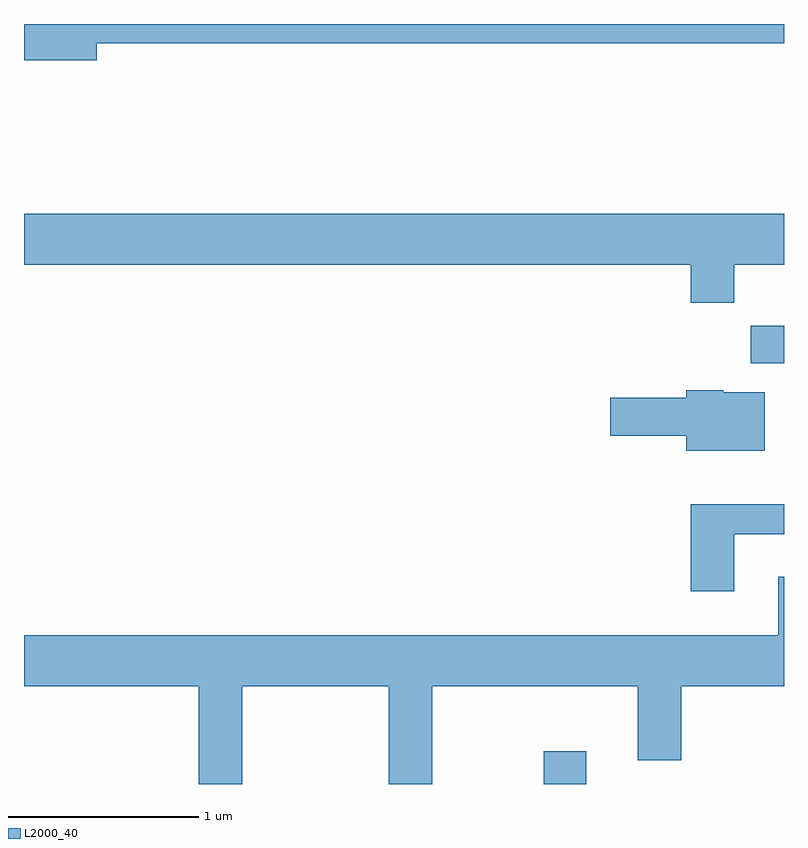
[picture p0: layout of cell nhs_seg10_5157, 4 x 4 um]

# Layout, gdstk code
import gdstk
lib = gdstk.Library(unit=1e-6, precision=1e-09)
def R(c, l, rs):  # rectangles x0, y0, x1, y1
    for r in rs: c.add(gdstk.rectangle(r[:2], r[2:], *l))
def P(c, l, *ps):  # polygons
    for p in ps: c.add(gdstk.Polygon(p, *l))
L2000_40 = (2000, 40)

nhs_seg10_5157 = lib.new_cell('nhs_seg10_5157')
R(nhs_seg10_5157, L2000_40, [(340.346,2104.522,340.569,2104.694), (341.436,2106.736,341.611,2106.934)])
P(nhs_seg10_5157, L2000_40, [(337.994,2108.421),(341.611,2108.421),(341.611,2108.522),(337.611,2108.522),(337.611,2108.331),(337.994,2108.331)],
  [(341.349,2107.256),(341.611,2107.256),(341.611,2107.524),(337.611,2107.524),(337.611,2107.256),(341.121,2107.256),(341.121,2107.056),(341.349,2107.056)],
  [(341.509,2106.584),(341.29,2106.584),(341.29,2106.594),(341.096,2106.594),(341.096,2106.554),(340.696,2106.554),(340.696,2106.356),(341.096,2106.356),(341.096,2106.276),(341.509,2106.276)],
  [(341.349,2105.836),(341.611,2105.836),(341.611,2105.994),(341.121,2105.994),(341.121,2105.536),(341.349,2105.536)],
  [(338.759,2105.036),(339.531,2105.036),(339.531,2104.522),(339.759,2104.522),(339.759,2105.036),(340.841,2105.036),(340.841,2104.646),(341.069,2104.646),(341.069,2105.036),(341.611,2105.036),(341.611,2105.614),(341.581,2105.614),(341.581,2105.304),(337.611,2105.304),(337.611,2105.036),(338.531,2105.036),(338.531,2104.522),(338.759,2104.522)])

lib.write_gds('nhs_seg10_5157.gds')
